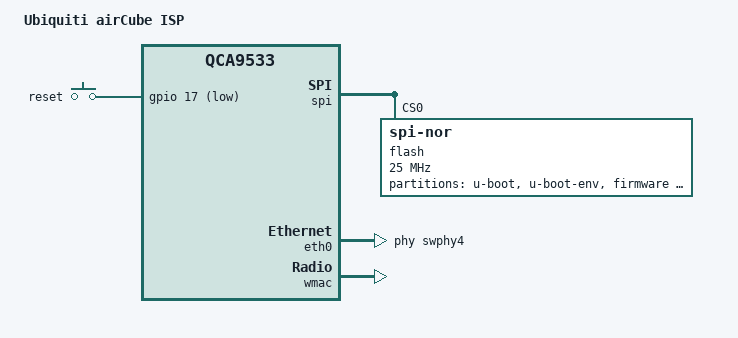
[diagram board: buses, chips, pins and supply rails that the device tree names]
// SPDX-License-Identifier: GPL-2.0-or-later OR MIT

#include "qca953x.dtsi"

#include <dt-bindings/gpio/gpio.h>
#include <dt-bindings/input/input.h>

/ {
	compatible = "ubnt,aircube-isp", "qca,qca9533";
	model = "Ubiquiti airCube ISP";

	aliases {
		label-mac-device = &wmac;
	};

	keys {
		compatible = "gpio-keys";

		reset {
			label = "reset";
			linux,code = <KEY_RESTART>;
			gpios = <&gpio 17 GPIO_ACTIVE_LOW>;
			debounce-interval = <60>;
		};
	};
};

&spi {
	status = "okay";

	flash@0 {
		compatible = "jedec,spi-nor";
		reg = <0>;
		spi-max-frequency = <25000000>;

		partitions {
			compatible = "fixed-partitions";
			#address-cells = <1>;
			#size-cells = <1>;

			partition@0 {
				label = "u-boot";
				reg = <0x000000 0x040000>;
				read-only;
			};

			partition@40000 {
				label = "u-boot-env";
				reg = <0x040000 0x010000>;
				read-only;
			};

			partition@50000 {
				compatible = "denx,uimage";
				label = "firmware";
				reg = <0x050000 0xf60000>;
			};

			partition@fb0000 {
				label = "cfg";
				reg = <0xfb0000 0x040000>;
				read-only;
			};

			art: partition@ff0000 {
				label = "art";
				reg = <0xff0000 0x010000>;
				read-only;
			};
		};
	};
};

&eth0 {
	status = "okay";

	phy-handle = <&swphy4>;

	nvmem-cells = <&macaddr_art_0>;
	nvmem-cell-names = "mac-address";
};

&eth1 {
	nvmem-cells = <&macaddr_art_6>;
	nvmem-cell-names = "mac-address";

	gmac-config {
		device = <&gmac>;
	};
};

&wmac {
	status = "okay";
	mtd-cal-data = <&art 0x1000>;
};

&art {
	compatible = "nvmem-cells";
	#address-cells = <1>;
	#size-cells = <1>;

	macaddr_art_0: macaddr@0 {
		reg = <0x0 0x6>;
	};

	macaddr_art_6: macaddr@6 {
		reg = <0x6 0x6>;
	};
};
